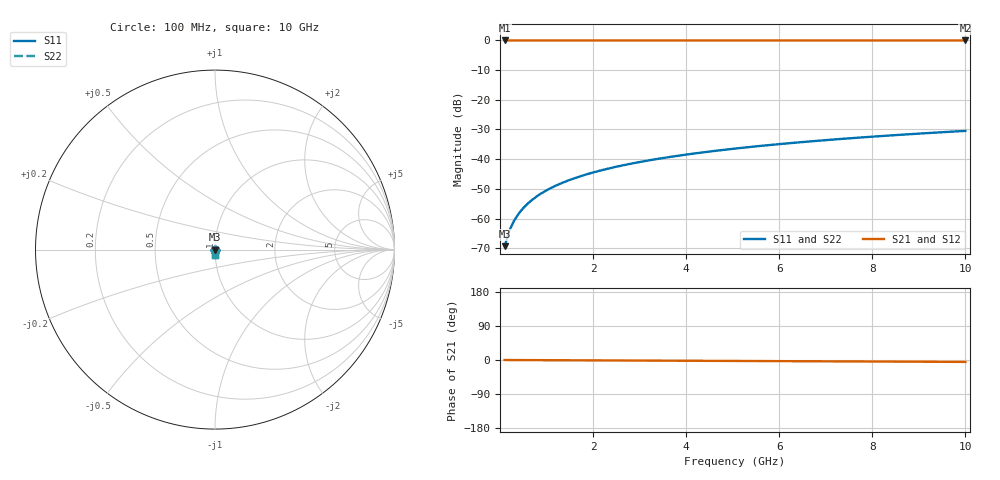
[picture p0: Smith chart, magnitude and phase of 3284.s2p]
# Hz S RI R 50.00
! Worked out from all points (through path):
!   100 points, 100 MHz to 10 GHz, reference 50 ohm
!   highest |S21| = 0.00 dB at 100 MHz (marker M1); lowest = 0.0 dB at 10 GHz (marker M2)
!   lowest |S11| = -69.3 dB at 100 MHz (marker M3), VSWR 1.00, Z = 50 - j0.0298 ohm
!   |S11| at or under -10 dB: start of sweep to end of sweep
!   |S22| runs from -69.3 to -30.5 dB; largest |S21 - S12| = 0
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1e8  0.000169 -0.000298  0.9998 -0.000868  0.9998 -0.000868  0.000169 -0.000298
2e8  0.000169 -0.000596  0.9998 -0.00174  0.9998 -0.00174  0.000169 -0.000596
3e8  0.000168 -0.000894  0.9998 -0.00261  0.9998 -0.00261  0.000168 -0.000894
4e8  0.000166 -0.00119  0.9998 -0.00347  0.9998 -0.00347  0.000166 -0.00119
5e8  0.000164 -0.00149  0.9998 -0.00434  0.9998 -0.00434  0.000164 -0.00149
6e8  0.000161 -0.00179  0.9998 -0.00521  0.9998 -0.00521  0.000161 -0.00179
7e8  0.000157 -0.00209  0.9998 -0.00608  0.9998 -0.00608  0.000157 -0.00209
8e8  0.000153 -0.00238  0.9998 -0.00695  0.9998 -0.00695  0.000153 -0.00238
9e8  0.000149 -0.00268  0.9998 -0.00782  0.9998 -0.00782  0.000149 -0.00268
1.1e9  0.000138 -0.00328  0.9998 -0.00955  0.9998 -0.00955  0.000138 -0.00328
1.4e9  0.000118 -0.00417  0.9997 -0.0122  0.9997 -0.0122  0.000118 -0.00417
1.8e9  8.41e-05 -0.00537  0.9997 -0.0156  0.9997 -0.0156  8.41e-05 -0.00537
2.1e9  5.29e-05 -0.00626  0.9996 -0.0182  0.9996 -0.0182  5.29e-05 -0.00626
2.5e9  4.08e-06 -0.00745  0.9995 -0.0217  0.9995 -0.0217  4.08e-06 -0.00745
2.9e9  -5.32e-05 -0.00865  0.9994 -0.0252  0.9994 -0.0252  -5.32e-05 -0.00865
3.4e9  -0.000137 -0.0101  0.9993 -0.0296  0.9993 -0.0296  -0.000137 -0.0101
4.2e9  -0.000297 -0.0125  0.999 -0.0365  0.999 -0.0365  -0.000297 -0.0125
5.1e9  -0.000518 -0.0152  0.9987 -0.0444  0.9987 -0.0444  -0.000518 -0.0152
5.9e9  -0.00075 -0.0176  0.9983 -0.0513  0.9983 -0.0513  -0.00075 -0.0176
6.7e9  -0.00102 -0.02  0.9979 -0.0583  0.9979 -0.0583  -0.00102 -0.02
8.4e9  -0.00169 -0.0251  0.9968 -0.0731  0.9968 -0.0731  -0.00169 -0.0251
1e10  -0.00247 -0.0298  0.9955 -0.0871  0.9955 -0.0871  -0.00247 -0.0298
